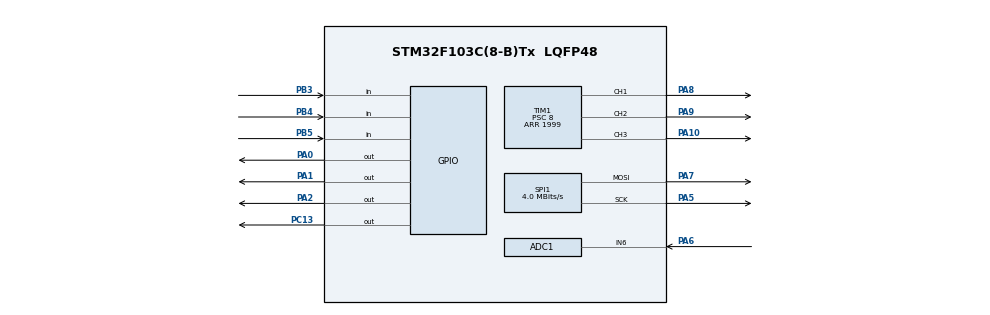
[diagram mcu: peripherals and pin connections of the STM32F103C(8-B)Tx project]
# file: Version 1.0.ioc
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ADC1.Channel-0\#ChannelRegularConversion=ADC_CHANNEL_6
ADC1.NbrOfConversionFlag=1
ADC1.Rank-0\#ChannelRegularConversion=1
ADC1.SamplingTime-0\#ChannelRegularConversion=ADC_SAMPLETIME_1CYCLE_5
ADC1.master=1
Mcu.Family=STM32F1
Mcu.Name=STM32F103C(8-B)Tx
Mcu.Package=LQFP48
NVIC.PriorityGroup=NVIC_PRIORITYGROUP_4
PA0-WKUP.Signal=GPIO_Output
PA1.Signal=GPIO_Output
PA10.Signal=S_TIM1_CH3
PA13.Mode=Serial_Wire
PA13.Signal=SYS_JTMS-SWDIO
PA14.Mode=Serial_Wire
PA14.Signal=SYS_JTCK-SWCLK
PA2.Signal=GPIO_Output
PA5.Mode=TX_Only_Simplex_Unidirect_Master
PA5.Signal=SPI1_SCK
PA6.Signal=ADCx_IN6
PA7.Mode=TX_Only_Simplex_Unidirect_Master
PA7.Signal=SPI1_MOSI
PA8.Signal=S_TIM1_CH1
PA9.Signal=S_TIM1_CH2
PB3.GPIO_PuPd=GPIO_PULLDOWN
PB3.Signal=GPIO_Input
PB4.GPIO_PuPd=GPIO_PULLDOWN
PB4.Signal=GPIO_Input
PB5.GPIO_PuPd=GPIO_PULLDOWN
PB5.Signal=GPIO_Input
PC13-TAMPER-RTC.Signal=GPIO_Output
PD0-OSC_IN.Mode=HSE-External-Oscillator
PD0-OSC_IN.Signal=RCC_OSC_IN
PD1-OSC_OUT.Mode=HSE-External-Oscillator
PD1-OSC_OUT.Signal=RCC_OSC_OUT
ProjectManager.HeapSize=0x200
ProjectManager.StackSize=0x400
ProjectManager.TargetToolchain=TrueSTUDIO
RCC.APB1Freq_Value=8000000
RCC.APB2Freq_Value=8000000
SH.ADCx_IN6.0=ADC1_IN6,IN6
SH.S_TIM1_CH1.0=TIM1_CH1,PWM Generation1 CH1
SH.S_TIM1_CH2.0=TIM1_CH2,PWM Generation2 CH2
SH.S_TIM1_CH3.0=TIM1_CH3,PWM Generation3 CH3
SPI1.CLKPhase=SPI_PHASE_2EDGE
SPI1.CLKPolarity=SPI_POLARITY_HIGH
SPI1.CalculateBaudRate=4.0 MBits/s
SPI1.Direction=SPI_DIRECTION_2LINES
SPI1.Mode=SPI_MODE_MASTER
SPI1.VirtualType=VM_MASTER
TIM1.Channel-PWM\ Generation1\ CH1=TIM_CHANNEL_1
TIM1.Channel-PWM\ Generation2\ CH2=TIM_CHANNEL_2
TIM1.Channel-PWM\ Generation3\ CH3=TIM_CHANNEL_3
TIM1.Period=1999
TIM1.Prescaler=8
board=Version 1.0

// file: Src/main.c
/**
  ******************************************************************************
  * File Name          : main.c
  * Description        : Main program body
  ******************************************************************************
  ** This notice applies to any and all portions of this file
  * that are not between comment pairs USER CODE BEGIN and
  * USER CODE END. Other portions of this file, whether
  * inserted by the user or by software development tools
  * are owned by their respective copyright owners.
  *
  * COPYRIGHT(c) 2017 STMicroelectronics
  *
  * Redistribution and use in source and binary forms, with or without modification,
  * are permitted provided that the following conditions are met:
  *   1. Redistributions of source code must retain the above copyright notice,
  *      this list of conditions and the following disclaimer.
  *   2. Redistributions in binary form must reproduce the above copyright notice,
  *      this list of conditions and the following disclaimer in the documentation
  *      and/or other materials provided with the distribution.
  *   3. Neither the name of STMicroelectronics nor the names of its contributors
  *      may be used to endorse or promote products derived from this software
  *      without specific prior written permission.
  *
  * THIS SOFTWARE IS PROVIDED BY THE COPYRIGHT HOLDERS AND CONTRIBUTORS "AS IS"
  * AND ANY EXPRESS OR IMPLIED WARRANTIES, INCLUDING, BUT NOT LIMITED TO, THE
  * IMPLIED WARRANTIES OF MERCHANTABILITY AND FITNESS FOR A PARTICULAR PURPOSE ARE
  * DISCLAIMED. IN NO EVENT SHALL THE COPYRIGHT HOLDER OR CONTRIBUTORS BE LIABLE
  * FOR ANY DIRECT, INDIRECT, INCIDENTAL, SPECIAL, EXEMPLARY, OR CONSEQUENTIAL
  * DAMAGES (INCLUDING, BUT NOT LIMITED TO, PROCUREMENT OF SUBSTITUTE GOODS OR
  * SERVICES; LOSS OF USE, DATA, OR PROFITS; OR BUSINESS INTERRUPTION) HOWEVER
  * CAUSED AND ON ANY THEORY OF LIABILITY, WHETHER IN CONTRACT, STRICT LIABILITY,
  * OR TORT (INCLUDING NEGLIGENCE OR OTHERWISE) ARISING IN ANY WAY OUT OF THE USE
  * OF THIS SOFTWARE, EVEN IF ADVISED OF THE POSSIBILITY OF SUCH DAMAGE.
  *
  ******************************************************************************
  */

#include "main.h"
#include "stm32f1xx_hal.h"
#include "adc.h"
#include "spi.h"
#include "tim.h"
#include "gpio.h"

/* USER CODE BEGIN Includes */
#include <stdbool.h>
/* USER CODE END Includes */

/* USER CODE BEGIN PV */
/* Private variables ---------------------------------------------------------*/

/* USER CODE END PV */

void SystemClock_Config(void);

/* USER CODE BEGIN PFP */
/* Private function prototypes -----------------------------------------------*/

/* USER CODE END PFP */

/* USER CODE BEGIN 0 */
extern const char tabelaad[4096][5];
int R_fixa = 220;        // Resistência fixa do divisor de tensão
int leitura = 0;           // Armazena o valor lido pela entrada analógica (valor entre 0 e 4096)
int resultado = 0;
int Vx;
char string_r[20];

bool btn_1 = false;
bool btn_2 = false;
bool btn_3 = false;
/* USER CODE END 0 */

int main(void)
{

  /* MCU Configuration----------------------------------------------------------*/

  /* Reset of all peripherals, Initializes the Flash interface and the Systick. */
  HAL_Init();

  /* Configure the system clock */
  SystemClock_Config();

  /* Initialize all configured peripherals */
  MX_GPIO_Init();
  MX_TIM1_Init();
  MX_ADC1_Init();
  MX_SPI1_Init();

  /* USER CODE BEGIN 2 */
  OledInit();
  HAL_TIM_PWM_Start(&htim1, TIM_CHANNEL_1); // Inicializa os timers para geração da PWM nos pinos A8, A9, A10
  HAL_TIM_PWM_Start(&htim1, TIM_CHANNEL_2);
  HAL_TIM_PWM_Start(&htim1, TIM_CHANNEL_3);
  __HAL_TIM_SET_COMPARE(&htim1, TIM_CHANNEL_1, 870);
  HAL_Delay(2000);
  __HAL_TIM_SET_COMPARE(&htim1, TIM_CHANNEL_2, 1300);
  HAL_Delay(2000);
  __HAL_TIM_SET_COMPARE(&htim1, TIM_CHANNEL_3, 1300);
  HAL_Delay(2000);
  /* USER CODE END 2 */

  /* Infinite loop */
  while (1)
  {

  /* USER CODE BEGIN 3 */
	  bool btn_1 = false;
	  bool btn_2 = false;
	  bool btn_3 = false;

	  int duas_casas=0;
	  int tres_casas=0;
	  int quatro_casas=0;
	  int resultado = 0;

	  HAL_ADC_Start(&hadc1);
	  OledSetCursor(0,0);
	  if (HAL_GPIO_ReadPin(GPIOB, GPIO_PIN_3)){
		  __HAL_TIM_SET_COMPARE(&htim1, TIM_CHANNEL_1, 150);
		  OledClear();
		  OledSetCursor(0,0);
		  OledPutString("Caixa 1 aberta");
		  HAL_Delay(1000);
		  btn_1 = true;
		  while(btn_1){
			  if (HAL_GPIO_ReadPin(GPIOB, GPIO_PIN_3)==GPIO_PIN_SET){
				  __HAL_TIM_SET_COMPARE(&htim1, TIM_CHANNEL_1, 870);
				  HAL_Delay(1000);
				  OledClear();
				  btn_1 = false;
			  }
		  }
	  }
	  if (HAL_GPIO_ReadPin(GPIOB, GPIO_PIN_4)){
		  __HAL_TIM_SET_COMPARE(&htim1, TIM_CHANNEL_2, 480);
		  OledClear();
		  OledSetCursor(0,0);
		  OledPutString("Caixa 2 aberta");
		  HAL_Delay(1000);
		  btn_2 = true;
	  	  while(btn_2){
	  		  if (HAL_GPIO_ReadPin(GPIOB, GPIO_PIN_4)){
	  			__HAL_TIM_SET_COMPARE(&htim1, TIM_CHANNEL_2, 1300);
	  			HAL_Delay(1000);
	  			OledClear();
	  			btn_2 = false;
	  		  }
	  	  }
	  }
	  if (HAL_GPIO_ReadPin(GPIOB, GPIO_PIN_5)){
		  __HAL_TIM_SET_COMPARE(&htim1, TIM_CHANNEL_3, 150);
		  OledClear();
		  OledSetCursor(0,0);
		  OledPutString("Caixa 3 aberta");
		  HAL_Delay(1000);
		  btn_3 = true;
	  	  while(btn_3){
	  		  if (HAL_GPIO_ReadPin(GPIOB, GPIO_PIN_5)){
	  			  __HAL_TIM_SET_COMPARE(&htim1, TIM_CHANNEL_3, 1300);
	  			  HAL_Delay(1000);
	  			  OledClear();
	  			  btn_3 = false;
	  		  }
	  	  }
	  }
	  leitura = HAL_ADC_GetValue(&hadc1); //pino A6
	  char tensao[4] = {tabelaad[leitura][0],tabelaad[leitura][1],tabelaad[leitura][2],tabelaad[leitura][3]};
	  Vx = atoi(tensao);
	  resultado = (int)(((3420*R_fixa)/Vx) - R_fixa);
	 // duas_casas = (int)((((3420*R_fixa)/Vx) - R_fixa) -((((3290*R_fixa)/Vx) - R_fixa)*10/100));
	  tres_casas = (int)((((3420*R_fixa)/Vx) - R_fixa) -((((3420*R_fixa)/Vx) - R_fixa)*7/100));
	  quatro_casas = (int)((((3420*R_fixa)/Vx) - R_fixa) -((((3420*R_fixa)/Vx) + R_fixa)*10/100));
	  if (resultado > 0 & resultado < 2000){
		  OledPutString("Resistencia: ");
		  if (resultado > 0 & resultado < 100){
			  sprintf(string_r,"%d",resultado);
			  OledSetCursor(0,2);
			  OledPutString(string_r);
			 // HAL_Delay(1000);
			  if(resultado >0 & resultado < 15){
				  __HAL_TIM_SET_COMPARE(&htim1, TIM_CHANNEL_1, 150);
				  OledClear();
				  OledSetCursor(0,0);
				  OledPutString("Caixa 1 aberta");
				  OledSetCursor(0,2);
				  OledPutString(string_r);
				  btn_1 = true;
				  HAL_Delay(1000);
				  while(btn_1){
					  if (HAL_GPIO_ReadPin(GPIOB, GPIO_PIN_3)){
						  __HAL_TIM_SET_COMPARE(&htim1, TIM_CHANNEL_1, 870);
						  HAL_Delay(1000);
						  OledClear();
						  btn_1 = false;
					  }
				  }
			  }
		  	}
		  if (resultado >= 100 & resultado < 1000){
			  sprintf(string_r,"%d",resultado);
			  OledSetCursor(0,2);
			  OledPutString(string_r);
			  //HAL_Delay(1000);
			  if(resultado >280 & resultado < 350){
				  __HAL_TIM_SET_COMPARE(&htim1, TIM_CHANNEL_2, 480);
				  OledClear();
				  OledSetCursor(0,0);
				  OledPutString("Caixa 2 aberta");
				  OledSetCursor(0,2);
				  OledPutString(string_r);
				  btn_2 = true;
				  HAL_Delay(1000);
				  while(btn_2){
					  if (HAL_GPIO_ReadPin(GPIOB, GPIO_PIN_4)){
						  __HAL_TIM_SET_COMPARE(&htim1, TIM_CHANNEL_2, 1300);
						  HAL_Delay(1000);
						  OledClear();
						  btn_2 = false;
					  }
				  }
			  }
		  }
		  if (resultado >= 1000 & resultado < 10000){
			  sprintf(string_r,"%d",resultado);
			  OledSetCursor(0,2);
			  OledPutString(string_r);
			 // HAL_Delay(1000);
			  if(resultado >=1000 & resultado <= 1400){
				  __HAL_TIM_SET_COMPARE(&htim1, TIM_CHANNEL_3, 150);
				  OledClear();
				  OledSetCursor(0,0);
				  OledPutString("Caixa 3 aberta");
				  OledSetCursor(0,2);
				  OledPutString(string_r);
				  btn_3 = true;
				  HAL_Delay(1000);
				  while(btn_3){
					  if (HAL_GPIO_ReadPin(GPIOB, GPIO_PIN_5)){
						  __HAL_TIM_SET_COMPARE(&htim1, TIM_CHANNEL_3, 1300);
						  HAL_Delay(1000);
						  OledClear();
						  btn_3 = false;
					  }
				  }
			  }
		  }
	  //		  sprintf(string_r,"%d",resultado);
	  //		  OledSetCursor(0,2);
	  //		  OledPutString(string_r);
		  OledPutString(" Ohms");
	  } else
		  OledPutString("Circuito aberto");
	  HAL_Delay(1000);
	  OledClear();

  }
  /* USER CODE END 3 */

}

/** System Clock Configuration
*/
void SystemClock_Config(void)
{

  RCC_OscInitTypeDef RCC_OscInitStruct;
  RCC_ClkInitTypeDef RCC_ClkInitStruct;
  RCC_PeriphCLKInitTypeDef PeriphClkInit;

    /**Initializes the CPU, AHB and APB busses clocks
    */
  RCC_OscInitStruct.OscillatorType = RCC_OSCILLATORTYPE_HSI;
  RCC_OscInitStruct.HSIState = RCC_HSI_ON;
  RCC_OscInitStruct.HSICalibrationValue = 16;
  RCC_OscInitStruct.PLL.PLLState = RCC_PLL_NONE;
  if (HAL_RCC_OscConfig(&RCC_OscInitStruct) != HAL_OK)
  {
    _Error_Handler(__FILE__, __LINE__);
  }

    /**Initializes the CPU, AHB and APB busses clocks
    */
  RCC_ClkInitStruct.ClockType = RCC_CLOCKTYPE_HCLK|RCC_CLOCKTYPE_SYSCLK
                              |RCC_CLOCKTYPE_PCLK1|RCC_CLOCKTYPE_PCLK2;
  RCC_ClkInitStruct.SYSCLKSource = RCC_SYSCLKSOURCE_HSI;
  RCC_ClkInitStruct.AHBCLKDivider = RCC_SYSCLK_DIV1;
  RCC_ClkInitStruct.APB1CLKDivider = RCC_HCLK_DIV1;
  RCC_ClkInitStruct.APB2CLKDivider = RCC_HCLK_DIV1;

  if (HAL_RCC_ClockConfig(&RCC_ClkInitStruct, FLASH_LATENCY_0) != HAL_OK)
  {
    _Error_Handler(__FILE__, __LINE__);
  }

  PeriphClkInit.PeriphClockSelection = RCC_PERIPHCLK_ADC;
  PeriphClkInit.AdcClockSelection = RCC_ADCPCLK2_DIV2;
  if (HAL_RCCEx_PeriphCLKConfig(&PeriphClkInit) != HAL_OK)
  {
    _Error_Handler(__FILE__, __LINE__);
  }

    /**Configure the Systick interrupt time
    */
  HAL_SYSTICK_Config(HAL_RCC_GetHCLKFreq()/1000);

    /**Configure the Systick
    */
  HAL_SYSTICK_CLKSourceConfig(SYSTICK_CLKSOURCE_HCLK);

  /* SysTick_IRQn interrupt configuration */
  HAL_NVIC_SetPriority(SysTick_IRQn, 0, 0);
}

/* USER CODE BEGIN 4 */
void user_pwm_setvalue(uint16_t value) {
    TIM_OC_InitTypeDef sConfigOC;
    sConfigOC.OCMode = TIM_OCMODE_PWM1;
    sConfigOC.Pulse = value;
    sConfigOC.OCPolarity = TIM_OCPOLARITY_HIGH;
    sConfigOC.OCFastMode = TIM_OCFAST_DISABLE;
    HAL_TIM_PWM_ConfigChannel(&htim1, &sConfigOC, TIM_CHANNEL_1);
    HAL_TIM_PWM_Start(&htim1, TIM_CHANNEL_1);
}

/* USER CODE END 4 */

void _Error_Handler(char * file, int line)
{
  while(1)
  {
  }
}

/************************ (C) COPYRIGHT STMicroelectronics *****END OF FILE****/
